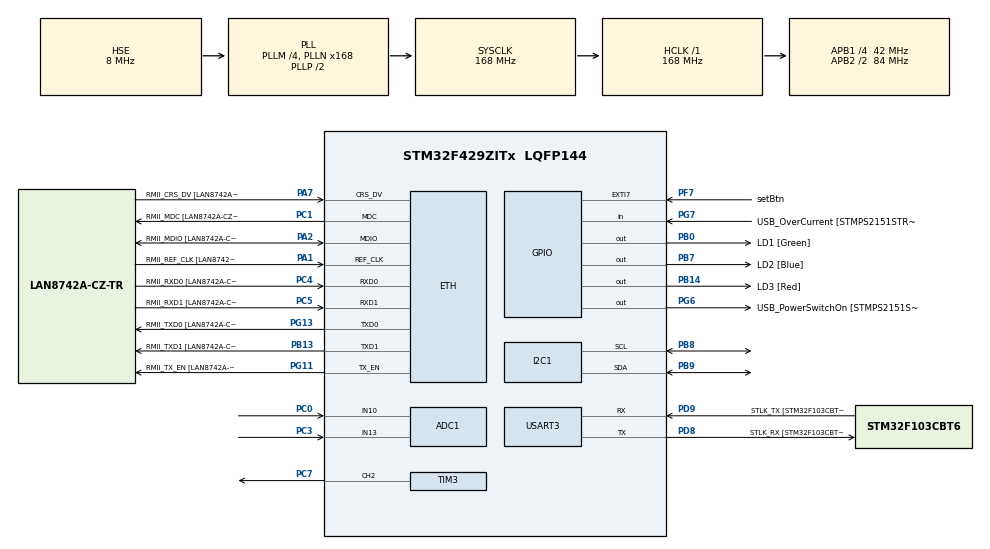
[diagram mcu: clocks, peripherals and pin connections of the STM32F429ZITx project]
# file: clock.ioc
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ADC1.Channel-4\#ChannelRegularConversion=ADC_CHANNEL_13
ADC1.Channel-5\#ChannelRegularConversion=ADC_CHANNEL_10
ADC1.ContinuousConvMode=ENABLE
ADC1.DMAContinuousRequests=ENABLE
ADC1.NbrOfConversion=2
ADC1.NbrOfConversionFlag=1
ADC1.Rank-4\#ChannelRegularConversion=1
ADC1.Rank-5\#ChannelRegularConversion=2
ADC1.SamplingTime-4\#ChannelRegularConversion=ADC_SAMPLETIME_84CYCLES
ADC1.SamplingTime-5\#ChannelRegularConversion=ADC_SAMPLETIME_84CYCLES
ADC1.ScanConvMode=ENABLE
ADC1.master=1
Dma.ADC1.0.Direction=DMA_PERIPH_TO_MEMORY
Dma.ADC1.0.FIFOMode=DMA_FIFOMODE_DISABLE
Dma.ADC1.0.Instance=DMA2_Stream0
Dma.ADC1.0.MemDataAlignment=DMA_MDATAALIGN_WORD
Dma.ADC1.0.MemInc=DMA_MINC_ENABLE
Dma.ADC1.0.Mode=DMA_CIRCULAR
Dma.ADC1.0.PeriphDataAlignment=DMA_PDATAALIGN_WORD
Dma.ADC1.0.PeriphInc=DMA_PINC_DISABLE
Dma.ADC1.0.Priority=DMA_PRIORITY_LOW
Dma.Request0=ADC1
ETH.MediaInterface=HAL_ETH_RMII_MODE
ETH.PHY_Name=LAN8742A_PHY_ADDRESS
ETH.PHY_Value=0
ETH.PhyAddress=0
Mcu.Family=STM32F4
Mcu.Name=STM32F429ZITx
Mcu.Package=LQFP144
NVIC.DMA2_Stream0_IRQn=true\:0\:0\:false\:false\:true\:false\:true\:true
NVIC.EXTI9_5_IRQn=true\:0\:0\:false\:true\:true\:2\:true\:true\:true
NVIC.PriorityGroup=NVIC_PRIORITYGROUP_4
NVIC.RTC_Alarm_IRQn=true\:0\:0\:false\:true\:true\:1\:true\:true\:true
NVIC.TIM2_IRQn=true\:0\:0\:false\:false\:true\:true\:true\:true
PA1.GPIO_Label=RMII_REF_CLK [LAN8742A-CZ-TR_REFCLK0]
PA1.Mode=RMII
PA1.Signal=ETH_REF_CLK
PA10.GPIO_Label=USB_ID
PA10.Signal=USB_OTG_FS_ID
PA11.GPIO_Label=USB_DM
PA11.Signal=USB_OTG_FS_DM
PA12.GPIO_Label=USB_DP
PA12.Signal=USB_OTG_FS_DP
PA13.GPIO_Label=TMS
PA13.Mode=Serial_Wire
PA13.Signal=SYS_JTMS-SWDIO
PA14.GPIO_Label=TCK
PA14.Mode=Serial_Wire
PA14.Signal=SYS_JTCK-SWCLK
PA2.GPIO_Label=RMII_MDIO [LAN8742A-CZ-TR_MDIO]
PA2.Mode=RMII
PA2.Signal=ETH_MDIO
PA7.GPIO_Label=RMII_CRS_DV [LAN8742A-CZ-TR_CRS_DV]
PA7.Mode=RMII
PA7.Signal=ETH_CRS_DV
PA8.GPIO_Label=USB_SOF [TP1]
PA8.Signal=USB_OTG_FS_SOF
PA9.GPIO_Label=USB_VBUS
PA9.Signal=USB_OTG_FS_VBUS
PB0.GPIO_Label=LD1 [Green]
PB0.Signal=GPIO_Output
PB13.GPIO_Label=RMII_TXD1 [LAN8742A-CZ-TR_TXD1]
PB13.Mode=RMII
PB13.Signal=ETH_TXD1
PB14.GPIO_Label=LD3 [Red]
PB14.Signal=GPIO_Output
PB7.GPIO_Label=LD2 [Blue]
PB7.Signal=GPIO_Output
PB8.Mode=I2C
PB8.Signal=I2C1_SCL
PB9.Mode=I2C
PB9.Signal=I2C1_SDA
PC0.Signal=ADCx_IN10
PC1.GPIO_Label=RMII_MDC [LAN8742A-CZ-TR_MDC]
PC1.Mode=RMII
PC1.Signal=ETH_MDC
PC14/OSC32_IN.Mode=LSE-External-Oscillator
PC14/OSC32_IN.Signal=RCC_OSC32_IN
PC15/OSC32_OUT.Mode=LSE-External-Oscillator
PC15/OSC32_OUT.Signal=RCC_OSC32_OUT
PC3.Signal=ADCx_IN13
PC4.GPIO_Label=RMII_RXD0 [LAN8742A-CZ-TR_RXD0]
PC4.Mode=RMII
PC4.Signal=ETH_RXD0
PC5.GPIO_Label=RMII_RXD1 [LAN8742A-CZ-TR_RXD1]
PC5.Mode=RMII
PC5.Signal=ETH_RXD1
PC7.Signal=S_TIM3_CH2
PD8.GPIO_Label=STLK_RX [STM32F103CBT6_PA3]
PD8.Mode=Asynchronous
PD8.Signal=USART3_TX
PD9.GPIO_Label=STLK_TX [STM32F103CBT6_PA2]
PD9.Mode=Asynchronous
PD9.Signal=USART3_RX
PF7.GPIO_Label=setBtn
PF7.GPIO_ModeDefaultEXTI=GPIO_MODE_IT_RISING_FALLING
PF7.GPIO_PuPd=GPIO_PULLUP
PF7.Signal=GPXTI7
PG11.GPIO_Label=RMII_TX_EN [LAN8742A-CZ-TR_TXEN]
PG11.Mode=RMII
PG11.Signal=ETH_TX_EN
PG13.GPIO_Label=RMII_TXD0 [LAN8742A-CZ-TR_TXD0]
PG13.Mode=RMII
PG13.Signal=ETH_TXD0
PG6.GPIO_Label=USB_PowerSwitchOn [STMPS2151STR_EN]
PG6.Signal=GPIO_Output
PG7.GPIO_Label=USB_OverCurrent [STMPS2151STR_FAULT]
PG7.Signal=GPIO_Input
PH0/OSC_IN.GPIO_Label=MCO [STM32F103CBT6_PA8]
PH0/OSC_IN.Mode=HSE-External-Clock-Source
PH0/OSC_IN.Signal=RCC_OSC_IN
PH1/OSC_OUT.Mode=HSE-External-Clock-Source
PH1/OSC_OUT.Signal=RCC_OSC_OUT
ProjectManager.HeapSize=0x200
ProjectManager.StackSize=0x400
ProjectManager.TargetToolchain=STM32CubeIDE
RCC.48MHZClocksFreq_Value=48000000
RCC.AHBFreq_Value=168000000
RCC.APB1CLKDivider=RCC_HCLK_DIV4
RCC.APB1Freq_Value=42000000
RCC.APB1TimFreq_Value=84000000
RCC.APB2CLKDivider=RCC_HCLK_DIV2
RCC.APB2Freq_Value=84000000
RCC.APB2TimCLKDivider=2
RCC.APB2TimFreq_Value=168000000
RCC.CortexFreq_Value=168000000
RCC.HCLKFreq_Value=168000000
RCC.HSE_VALUE=8000000
RCC.HSI_VALUE=16000000
RCC.PLLM=4
RCC.PLLMUL=RCC_PLL_MUL9
RCC.PLLN=168
RCC.PLLQ=7
RCC.PLLSourceVirtual=RCC_PLLSOURCE_HSE
RCC.PRESCALERUSB=RCC_USBCLKSOURCE_PLL_DIV1_5
RCC.RCC_RTC_Clock_Source=RCC_RTCCLKSOURCE_LSE
RCC.RCC_RTC_Clock_SourceVirtual=RCC_RTCCLKSOURCE_LSE
RCC.SYSCLKFreq_VALUE=168000000
RCC.SYSCLKSource=RCC_SYSCLKSOURCE_PLLCLK
RCC.SYSCLKSourceVirtual=RCC_SYSCLKSOURCE_PLLCLK
RCC.USBFreq_Value=48000000
RCC.VCOOutputFreq_Value=336000000
RTC.Alarm=RTC_ALARM_A
RTC.AlarmDateWeekDaySel=RTC_ALARMDATEWEEKDAYSEL_DATE
RTC.AlarmMaskDateWeekDay=RTC_ALARMMASK_DATEWEEKDAY
RTC.HourFormat=RTC_HOURFORMAT_12
RTC.Hours=11
RTC.Minutes=59
RTC.Minutes_A=5
RTC.Seconds=36
RTC.Seconds_A=30
SH.ADCx_IN10.0=ADC1_IN10,IN10
SH.ADCx_IN13.0=ADC1_IN13,IN13
SH.S_TIM3_CH2.0=TIM3_CH2,PWM Generation2 CH2
TIM2.Period=100-1
TIM2.Prescaler=8400-1
TIM3.Channel-PWM\ Generation2\ CH2=TIM_CHANNEL_2
TIM3.Period=200-1
TIM3.Prescaler=84-1
TIM3.Pulse-PWM\ Generation2\ CH2=50-1
USART3.VirtualMode=VM_ASYNC
VP_RTC_VS_RTC_Activate.Mode=RTC_Enabled
VP_RTC_VS_RTC_Alarm_A_Intern.Mode=Alarm A
VP_RTC_VS_RTC_Calendar.Mode=RTC_Calendar
VP_TIM2_VS_ClockSourceINT.Mode=Internal
board=NUCLEO-F429ZI

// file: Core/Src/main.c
/* USER CODE BEGIN Header */
/**
  ******************************************************************************
  * @file           : main.c
  * @brief          : Main program body
  ******************************************************************************
  * @attention
  *
  * Copyright (c) 2023 STMicroelectronics.
  * All rights reserved.
  *
  * This software is licensed under terms that can be found in the LICENSE file
  * in the root directory of this software component.
  * If no LICENSE file comes with this software, it is provided AS-IS.
  *
  ******************************************************************************
  */
/* USER CODE END Header */
#include "main.h"
#include "string.h"

/* USER CODE BEGIN Includes */
#include "stdio.h"
#include "flash.h"
#include "melody.h"
/* USER CODE END Includes */

/* USER CODE BEGIN PTD */
enum CLOCK_MODE{
	NORMAL_STATE,
	TIME_SETTING,
	ALARM_TIME_SETTING,
	MUSIC_SELECT
};
struct clock_state{
	enum CLOCK_MODE mode;
	int music_num;
};
struct clock_state current_state;

typedef struct {
	int8_t music_num;
	char music_title[16];
	int music_length;
} MusicTypeDef;

MusicTypeDef alarm_music[] =
{
  {0, "Harry Potter   ", 64},
  {1, "School Bell    ", 24}
};

/* USER CODE END PTD */

/* USER CODE BEGIN PD */
#define LCD_ADDR (0x27 << 1)

/* USER CODE END PD */

ETH_TxPacketConfig TxConfig;
ETH_DMADescTypeDef  DMARxDscrTab[ETH_RX_DESC_CNT]; /* Ethernet Rx DMA Descriptors */
ETH_DMADescTypeDef  DMATxDscrTab[ETH_TX_DESC_CNT]; /* Ethernet Tx DMA Descriptors */

ADC_HandleTypeDef hadc1;
DMA_HandleTypeDef hdma_adc1;

ETH_HandleTypeDef heth;

I2C_HandleTypeDef hi2c1;

RTC_HandleTypeDef hrtc;

TIM_HandleTypeDef htim2;
TIM_HandleTypeDef htim3;

UART_HandleTypeDef huart3;

void SystemClock_Config(void);
static void MX_GPIO_Init(void);
static void MX_DMA_Init(void);
static void MX_ETH_Init(void);
static void MX_USART3_UART_Init(void);
static void MX_I2C1_Init(void);
static void MX_RTC_Init(void);
static void MX_ADC1_Init(void);
static void MX_TIM3_Init(void);
static void MX_TIM2_Init(void);
static void MX_NVIC_Init(void);
/* USER CODE BEGIN PFP */
int _write(int file, char* ptr, int len) {
	HAL_UART_Transmit(&huart3, (uint8_t* )ptr, len, 500);
	return len;
}
int __io_putchar(int ch) {
	HAL_UART_Transmit(&huart3, (uint8_t* )&ch, 1, 1000);
	return ch;
}
/* USER CODE END PFP */

/* USER CODE BEGIN 0 */

HAL_StatusTypeDef update_nvitems(void)
{
	uint32_t FirstSector,NbOfSectors,SECTORError;
	FLASH_EraseInitTypeDef EraseInitStruct;
	HAL_StatusTypeDef error= HAL_OK;
	uint32_t Address,i;
	uint64_t Data;
	uint8_t* ptr;

	HAL_FLASH_Unlock();
	FirstSector = FLASH_SECTOR_11;
	NbOfSectors = 1;

	EraseInitStruct.TypeErase     = FLASH_TYPEERASE_SECTORS;
	EraseInitStruct.VoltageRange  = FLASH_VOLTAGE_RANGE_3;
	EraseInitStruct.Sector        = FirstSector;
	EraseInitStruct.NbSectors     = NbOfSectors;

	error = HAL_FLASHEx_Erase(&EraseInitStruct, &SECTORError);
	if(error != HAL_OK)
	{
		return error;
	}

	ptr = (uint8_t* )&default_nvitem;

	for(i = 0; i < sizeof(NVitemTypeDef); i++)
	{
		Address = (uint8_t* )nv_items + i;
		Data = *((uint8_t* )ptr+ i);
		error = HAL_FLASH_Program(FLASH_TYPEPROGRAM_BYTE,Address,Data);
		if(error != HAL_OK)
		{
			return error;
		}
	}

	HAL_FLASH_Lock();
}
extern void I2C_Scan(void);
void LCD_Init(uint8_t lcd_addr);
void LCD_SendCommand(uint8_t lcd_addr, uint8_t cmd);
void LCD_SendString(uint8_t lcd_addr, char *str);
int hourMinSec;
void setTime_Position();
void music_select();

char showTime[30] = {0};
char alarmTime[30] = {0};
char ampm[2][3] = {"AM", "PM"};

uint32_t XY[2];

RTC_TimeTypeDef sTime;
RTC_DateTypeDef sDate;
RTC_AlarmTypeDef aTime = {0};

void get_time(void)
{
	HAL_RTC_GetTime(&hrtc, &sTime, RTC_FORMAT_BIN);
	HAL_RTC_GetDate(&hrtc, &sDate, RTC_FORMAT_BIN);
	sprintf((char* )showTime, "%s %02d : %02d : %02d      ", ampm[sTime.TimeFormat], sTime.Hours, sTime.Minutes, sTime.Seconds);
}
void get_alarm(void)
{
	aTime.Alarm = RTC_ALARM_A;
	HAL_RTC_GetAlarm(&hrtc, &aTime, RTC_ALARM_A, RTC_FORMAT_BIN);
	sprintf((char* )alarmTime, "%s %02d : %02d : %02d      ", ampm[aTime.AlarmTime.TimeFormat], aTime.AlarmTime.Hours, aTime.AlarmTime.Minutes, aTime.AlarmTime.Seconds);
}

void time_display(void) {
  if (current_state.mode == NORMAL_STATE) {
	  get_time();
	  LCD_SendCommand(LCD_ADDR, 0b10000000);
	  LCD_SendString(LCD_ADDR, "CLOCK              ");
	  LCD_SendCommand(LCD_ADDR, 0b11000000);
	  LCD_SendString(LCD_ADDR, showTime);
  }
  else if (current_state.mode == TIME_SETTING){
	  LCD_SendCommand(LCD_ADDR, 0b10000000);
	  LCD_SendString(LCD_ADDR, "Time Setting      ");
	  LCD_SendCommand(LCD_ADDR, 0b11000000);
	  LCD_SendString(LCD_ADDR, showTime);
	  LCD_SendCommand(LCD_ADDR, 0b10001101);
  }
  else if (current_state.mode == ALARM_TIME_SETTING) {
	  get_alarm();
	  LCD_SendCommand(LCD_ADDR, 0b10000000);
	  LCD_SendString(LCD_ADDR, "Alarm Time       ");
	  LCD_SendCommand(LCD_ADDR, 0b11000000);
	  LCD_SendString(LCD_ADDR, alarmTime);
	  LCD_SendCommand(LCD_ADDR, 0b10001101);
  }
  else if (current_state.mode == MUSIC_SELECT) {
	  LCD_SendCommand(LCD_ADDR, 0b10000000);
	  LCD_SendString(LCD_ADDR, "Music Select       ");
	  music_select();
  }
}

uint32_t ctime, ltime, interval;
uint32_t double_key_cnt, tmptime;
int tmpcnt, click_flag, level;
uint32_t currentTime, lastTime;

enum CLICK_STATE {
	NO_CLICK,
	FIRST_PUSH,
	FIRST_PULL,
	SECOND_PUSH,
	SECOND_PULL
} click_state;
enum CLICK_STATE click_state = NO_CLICK;

void HAL_GPIO_EXTI_Callback(uint16_t GPIO_Pin)
{
	level = HAL_GPIO_ReadPin(GPIOF, GPIO_PIN_7);
	if (seq > 0) { // alarm ringing...
		seq = alarm_music[current_state.music_num].music_length;
		if (level == 1) return;
	}
	else {
		currentTime = HAL_GetTick();
		interval = currentTime - lastTime;
		lastTime = currentTime;

		if (interval > 50) { // debouncing
			if (level == 0 && (click_state == NO_CLICK || click_state == SECOND_PULL)) {
				click_state = FIRST_PUSH;
				ctime = HAL_GetTick();
			}
			else if (level == 1 && click_state == FIRST_PUSH) {
				click_state = FIRST_PULL;
				ltime = HAL_GetTick();
				if (ltime - ctime > 1000 && current_state.mode == NORMAL_STATE) {
					printf("Long click \r\n");
					click_state = NO_CLICK;
					current_state.mode = ALARM_TIME_SETTING;
				}
				else {
	//				printf("first pull \r\n");
				}
			}
			else if (level == 0 && click_state == FIRST_PULL) {
				click_state = SECOND_PUSH;
			}
			else if (level == 1 && click_state == SECOND_PUSH) {
				click_state = SECOND_PULL;
				printf("double click \r\n");
				if (current_state.mode == NORMAL_STATE) {
					current_state.mode = MUSIC_SELECT;
				}
				click_state = NO_CLICK;
			}
		}
	}

}

void setTime_Position() {
	char blink[30] = {0};
	RTC_TimeTypeDef* selectedTime;
	if (current_state.mode == TIME_SETTING) {
		selectedTime = &sTime;
	} else {
		selectedTime = &(aTime.AlarmTime);
		get_alarm();
		HAL_RTC_SetTime(&hrtc, &sTime, RTC_FORMAT_BIN);
//		HAL_RTC_DeactivateAlarm(&hrtc, RTC_ALARM_A);
	}

	if (XY[0] < 60) hourMinSec--;
	if (XY[0] > 4000) hourMinSec++;

	if (hourMinSec > 3) hourMinSec = 0;
	if (hourMinSec < 0) hourMinSec = 3;

//	printf("time_position : %d \r\n", hourMinSec);

	switch(hourMinSec) {
	case 0:
//		LCD_SendCommand(LCD_ADDR, 0b11000000);
		LCD_SendString(LCD_ADDR, "A");
		sprintf(blink, "%s", ampm[selectedTime->TimeFormat]);
		if (XY[1] < 60 ) selectedTime->TimeFormat++;
		if (XY[1] > 4000)  selectedTime->TimeFormat--;
		break;

	case 1:
//		LCD_SendCommand(LCD_ADDR, 0b11000011);
		LCD_SendString(LCD_ADDR, "H");
		sprintf(blink, "%02d", selectedTime->Hours);
		if (XY[1] < 60)   selectedTime->Hours++;
		if (XY[1] > 4000) selectedTime->Hours--;
		if (selectedTime -> Hours == 0)     selectedTime->Hours = 12;
		else if (selectedTime-> Hours > 12 ) selectedTime->Hours = 1;
		break;

	case 2:
//		LCD_SendCommand(LCD_ADDR, 0b11001000);
		LCD_SendString(LCD_ADDR, "M");
		sprintf(blink, "%02d", selectedTime->Minutes);
		if (XY[1] < 60) selectedTime->Minutes++;
		if (XY[1] > 4000) selectedTime->Minutes--;
		if (selectedTime->Minutes > 250)     selectedTime->Minutes = 59;
		else if (selectedTime->Minutes > 59) selectedTime->Minutes = 0;
		break;

	case 3:
//		LCD_SendCommand(LCD_ADDR, 0b11001101);
		LCD_SendString(LCD_ADDR, "S");
		sprintf(blink, "%02d", selectedTime->Seconds);
		if (XY[1] < 60) selectedTime->Seconds++;
		if (XY[1] > 4000) selectedTime->Seconds--;
		if (selectedTime->Seconds > 250)     selectedTime->Seconds = 59;
		else if (selectedTime->Seconds > 59) selectedTime->Seconds = 0;
		break;
	}

	HAL_Delay(400);
//	LCD_SendString(LCD_ADDR, "  ");
	if (current_state.mode == TIME_SETTING) {
		HAL_RTC_SetTime(&hrtc, &sTime, RTC_FORMAT_BIN);
		default_nvitem.setting_time.TimeFormat = sTime.TimeFormat;
		default_nvitem.setting_time.Hours = sTime.Hours;
		default_nvitem.setting_time.Minutes = sTime.Minutes;
		default_nvitem.setting_time.Seconds = sTime.Seconds;
//		update_nvitems();
	}
	else {
		aTime.Alarm = RTC_ALARM_A;
		default_nvitem.alarm_time.TimeFormat = aTime.AlarmTime.TimeFormat;
		default_nvitem.alarm_time.Hours = aTime.AlarmTime.Hours;
		default_nvitem.alarm_time.Minutes = aTime.AlarmTime.Minutes;
		default_nvitem.alarm_time.Seconds = aTime.AlarmTime.Seconds;
		HAL_RTC_SetAlarm_IT(&hrtc, &aTime, RTC_FORMAT_BIN);
//		update_nvitems();
//		get_alarm();
	}
//	update_nvitems();
}

void music_select(void) {
	unsigned int music_cnt = sizeof(alarm_music)/sizeof(alarm_music[0]); // total music cnt

	if (XY[1] < 60 ) current_state.music_num++;
	if (XY[1] > 4000 ) current_state.music_num--;
	current_state.music_num %= music_cnt;

	LCD_SendCommand(LCD_ADDR, 0b11000000);
	LCD_SendString(LCD_ADDR, alarm_music[current_state.music_num].music_title);
	default_nvitem.alarm_music_num = current_state.music_num;
}

/* USER CODE END 0 */

int main(void)
{

  /* MCU Configuration--------------------------------------------------------*/

  /* Reset of all peripherals, Initializes the Flash interface and the Systick. */
  HAL_Init();

  /* Configure the system clock */
  SystemClock_Config();

  /* Initialize all configured peripherals */
  MX_GPIO_Init();
  MX_DMA_Init();
  MX_ETH_Init();
  MX_USART3_UART_Init();
  MX_I2C1_Init();
  MX_RTC_Init();
  MX_ADC1_Init();
  MX_TIM3_Init();
  MX_TIM2_Init();

  /* Initialize interrupts */
  MX_NVIC_Init();
  /* USER CODE BEGIN 2 */
  I2C_Scan();
  LCD_Init(LCD_ADDR);

  HAL_ADC_Start_DMA(&hadc1, XY, 2);
  aTime.AlarmMask = RTC_ALARMMASK_DATEWEEKDAY; // So, mask = 1,0,0,0

  current_state.mode = NORMAL_STATE;
  click_state = NO_CLICK;
  current_state.music_num = 0;

  if(nv_items->magic_num == MAGIC_NUM) // get
  {
	  sTime.TimeFormat = *(uint8_t *)(ADDR_FLASH_SECTOR_11 + 4);
	  sTime.Hours = *(uint8_t *)(ADDR_FLASH_SECTOR_11 + 5);
	  sTime.Minutes = *(uint8_t *)(ADDR_FLASH_SECTOR_11 + 6);
	  sTime.Seconds = *(uint8_t *)(ADDR_FLASH_SECTOR_11 + 7);
	  HAL_RTC_SetTime(&hrtc, &sTime, RTC_FORMAT_BIN);

//	  HAL_RTC_DeactivateAlarm(&hrtc, RTC_ALARM_A);
	  aTime.AlarmTime.TimeFormat = *(uint8_t *)(ADDR_FLASH_SECTOR_11 + 8);
	  aTime.AlarmTime.Hours = *(uint8_t *)(ADDR_FLASH_SECTOR_11 + 9);
	  aTime.AlarmTime.Minutes = *(uint8_t *)(ADDR_FLASH_SECTOR_11 + 10);
	  aTime.AlarmTime.Seconds = *(uint8_t *)(ADDR_FLASH_SECTOR_11 + 11);
	  aTime.Alarm = RTC_ALARM_A;
	  HAL_RTC_SetAlarm_IT(&hrtc, &aTime, RTC_FORMAT_BIN);

	  current_state.music_num = *(uint8_t *)(ADDR_FLASH_SECTOR_11 + 12);
  }
  else // set
  {
	  update_nvitems();
  }

  /* USER CODE END 2 */

  /* Infinite loop */
  /* USER CODE BEGIN WHILE */
  while (1)
  {
	  get_time();
	  time_display();
	  if (current_state.mode == TIME_SETTING || current_state.mode == ALARM_TIME_SETTING) {
		  setTime_Position();
//		  printf("%d, %d \r\n", XY[0], XY[1]);
//		  printf("\r\n");
	  }

	  if (click_state == FIRST_PULL && (HAL_GetTick()-ltime) > 100) {
		printf("one click \r\n");
		if (seq > 0 ) {
			seq = alarm_music[current_state.music_num].music_length;
		}
		else {
			if (current_state.mode == NORMAL_STATE) {
				current_state.mode = TIME_SETTING;
			}
			else {
				current_state.mode = NORMAL_STATE;
				update_nvitems();

			}
		}

		click_state = NO_CLICK;
	 }

    /* USER CODE END WHILE */

  }
}

void SystemClock_Config(void)
{
  RCC_OscInitTypeDef RCC_OscInitStruct = {0};
  RCC_ClkInitTypeDef RCC_ClkInitStruct = {0};

  /** Configure the main internal regulator output voltage
  */
  __HAL_RCC_PWR_CLK_ENABLE();
  __HAL_PWR_VOLTAGESCALING_CONFIG(PWR_REGULATOR_VOLTAGE_SCALE1);

  /** Initializes the RCC Oscillators according to the specified parameters
  * in the RCC_OscInitTypeDef structure.
  */
  RCC_OscInitStruct.OscillatorType = RCC_OSCILLATORTYPE_HSE|RCC_OSCILLATORTYPE_LSE;
  RCC_OscInitStruct.HSEState = RCC_HSE_BYPASS;
  RCC_OscInitStruct.LSEState = RCC_LSE_ON;
  RCC_OscInitStruct.PLL.PLLState = RCC_PLL_ON;
  RCC_OscInitStruct.PLL.PLLSource = RCC_PLLSOURCE_HSE;
  RCC_OscInitStruct.PLL.PLLM = 4;
  RCC_OscInitStruct.PLL.PLLN = 168;
  RCC_OscInitStruct.PLL.PLLP = RCC_PLLP_DIV2;
  RCC_OscInitStruct.PLL.PLLQ = 7;
  if (HAL_RCC_OscConfig(&RCC_OscInitStruct) != HAL_OK)
  {
    Error_Handler();
  }

  /** Initializes the CPU, AHB and APB buses clocks
  */
  RCC_ClkInitStruct.ClockType = RCC_CLOCKTYPE_HCLK|RCC_CLOCKTYPE_SYSCLK
                              |RCC_CLOCKTYPE_PCLK1|RCC_CLOCKTYPE_PCLK2;
  RCC_ClkInitStruct.SYSCLKSource = RCC_SYSCLKSOURCE_PLLCLK;
  RCC_ClkInitStruct.AHBCLKDivider = RCC_SYSCLK_DIV1;
  RCC_ClkInitStruct.APB1CLKDivider = RCC_HCLK_DIV4;
  RCC_ClkInitStruct.APB2CLKDivider = RCC_HCLK_DIV2;

  if (HAL_RCC_ClockConfig(&RCC_ClkInitStruct, FLASH_LATENCY_5) != HAL_OK)
  {
    Error_Handler();
  }
}

/**
  * @brief NVIC Configuration.
  * @retval None
  */
static void MX_NVIC_Init(void)
{
  /* RTC_Alarm_IRQn interrupt configuration */
  HAL_NVIC_SetPriority(RTC_Alarm_IRQn, 0, 0);
  HAL_NVIC_EnableIRQ(RTC_Alarm_IRQn);
  /* EXTI9_5_IRQn interrupt configuration */
  HAL_NVIC_SetPriority(EXTI9_5_IRQn, 0, 0);
  HAL_NVIC_EnableIRQ(EXTI9_5_IRQn);
}

static void MX_ADC1_Init(void)
{

  ADC_ChannelConfTypeDef sConfig = {0};

  /** Configure the global features of the ADC (Clock, Resolution, Data Alignment and number of conversion)
  */
  hadc1.Instance = ADC1;
  hadc1.Init.ClockPrescaler = ADC_CLOCK_SYNC_PCLK_DIV4;
  hadc1.Init.Resolution = ADC_RESOLUTION_12B;
  hadc1.Init.ScanConvMode = ENABLE;
  hadc1.Init.ContinuousConvMode = ENABLE;
  hadc1.Init.DiscontinuousConvMode = DISABLE;
  hadc1.Init.ExternalTrigConvEdge = ADC_EXTERNALTRIGCONVEDGE_NONE;
  hadc1.Init.ExternalTrigConv = ADC_SOFTWARE_START;
  hadc1.Init.DataAlign = ADC_DATAALIGN_RIGHT;
  hadc1.Init.NbrOfConversion = 2;
  hadc1.Init.DMAContinuousRequests = ENABLE;
  hadc1.Init.EOCSelection = ADC_EOC_SINGLE_CONV;
  if (HAL_ADC_Init(&hadc1) != HAL_OK)
  {
    Error_Handler();
  }

  /** Configure for the selected ADC regular channel its corresponding rank in the sequencer and its sample time.
  */
  sConfig.Channel = ADC_CHANNEL_13;
  sConfig.Rank = 1;
  sConfig.SamplingTime = ADC_SAMPLETIME_84CYCLES;
  if (HAL_ADC_ConfigChannel(&hadc1, &sConfig) != HAL_OK)
  {
    Error_Handler();
  }

  /** Configure for the selected ADC regular channel its corresponding rank in the sequencer and its sample time.
  */
  sConfig.Channel = ADC_CHANNEL_10;
  sConfig.Rank = 2;
  if (HAL_ADC_ConfigChannel(&hadc1, &sConfig) != HAL_OK)
  {
    Error_Handler();
  }

}

static void MX_ETH_Init(void)
{

   static uint8_t MACAddr[6];

  heth.Instance = ETH;
  MACAddr[0] = 0x00;
  MACAddr[1] = 0x80;
  MACAddr[2] = 0xE1;
  MACAddr[3] = 0x00;
  MACAddr[4] = 0x00;
  MACAddr[5] = 0x00;
  heth.Init.MACAddr = &MACAddr[0];
  heth.Init.MediaInterface = HAL_ETH_RMII_MODE;
  heth.Init.TxDesc = DMATxDscrTab;
  heth.Init.RxDesc = DMARxDscrTab;
  heth.Init.RxBuffLen = 1524;

  if (HAL_ETH_Init(&heth) != HAL_OK)
  {
    Error_Handler();
  }

  memset(&TxConfig, 0 , sizeof(ETH_TxPacketConfig));
  TxConfig.Attributes = ETH_TX_PACKETS_FEATURES_CSUM | ETH_TX_PACKETS_FEATURES_CRCPAD;
  TxConfig.ChecksumCtrl = ETH_CHECKSUM_IPHDR_PAYLOAD_INSERT_PHDR_CALC;
  TxConfig.CRCPadCtrl = ETH_CRC_PAD_INSERT;

}

static void MX_I2C1_Init(void)
{

  hi2c1.Instance = I2C1;
  hi2c1.Init.ClockSpeed = 100000;
  hi2c1.Init.DutyCycle = I2C_DUTYCYCLE_2;
  hi2c1.Init.OwnAddress1 = 0;
  hi2c1.Init.AddressingMode = I2C_ADDRESSINGMODE_7BIT;
  hi2c1.Init.DualAddressMode = I2C_DUALADDRESS_DISABLE;
  hi2c1.Init.OwnAddress2 = 0;
  hi2c1.Init.GeneralCallMode = I2C_GENERALCALL_DISABLE;
  hi2c1.Init.NoStretchMode = I2C_NOSTRETCH_DISABLE;
  if (HAL_I2C_Init(&hi2c1) != HAL_OK)
  {
    Error_Handler();
  }

  /** Configure Analogue filter
  */
  if (HAL_I2CEx_ConfigAnalogFilter(&hi2c1, I2C_ANALOGFILTER_ENABLE) != HAL_OK)
  {
    Error_Handler();
  }

  /** Configure Digital filter
  */
  if (HAL_I2CEx_ConfigDigitalFilter(&hi2c1, 0) != HAL_OK)
  {
    Error_Handler();
  }

}

static void MX_RTC_Init(void)
{

  RTC_TimeTypeDef sTime = {0};
  RTC_DateTypeDef sDate = {0};
  RTC_AlarmTypeDef sAlarm = {0};

  /** Initialize RTC Only
  */
  hrtc.Instance = RTC;
  hrtc.Init.HourFormat = RTC_HOURFORMAT_12;
  hrtc.Init.AsynchPrediv = 127;
  hrtc.Init.SynchPrediv = 255;
  hrtc.Init.OutPut = RTC_OUTPUT_DISABLE;
  hrtc.Init.OutPutPolarity = RTC_OUTPUT_POLARITY_HIGH;
  hrtc.Init.OutPutType = RTC_OUTPUT_TYPE_OPENDRAIN;
  if (HAL_RTC_Init(&hrtc) != HAL_OK)
  {
    Error_Handler();
  }

  /** Initialize RTC and set the Time and Date
  */
  sTime.Hours = 0x11;
  sTime.Minutes = 0x59;
  sTime.Seconds = 0x36;
  sTime.TimeFormat = RTC_HOURFORMAT12_AM;
  sTime.DayLightSaving = RTC_DAYLIGHTSAVING_NONE;
  sTime.StoreOperation = RTC_STOREOPERATION_RESET;
  if (HAL_RTC_SetTime(&hrtc, &sTime, RTC_FORMAT_BCD) != HAL_OK)
  {
    Error_Handler();
  }
  sDate.WeekDay = RTC_WEEKDAY_MONDAY;
  sDate.Month = RTC_MONTH_JANUARY;
  sDate.Date = 0x1;
  sDate.Year = 0x0;

  if (HAL_RTC_SetDate(&hrtc, &sDate, RTC_FORMAT_BCD) != HAL_OK)
  {
    Error_Handler();
  }

  /** Enable the Alarm A
  */
  sAlarm.AlarmTime.Hours = 0x1;
  sAlarm.AlarmTime.Minutes = 0x5;
  sAlarm.AlarmTime.Seconds = 0x30;
  sAlarm.AlarmTime.SubSeconds = 0x0;
  sAlarm.AlarmTime.TimeFormat = RTC_HOURFORMAT12_AM;
  sAlarm.AlarmTime.DayLightSaving = RTC_DAYLIGHTSAVING_NONE;
  sAlarm.AlarmTime.StoreOperation = RTC_STOREOPERATION_RESET;
  sAlarm.AlarmMask = RTC_ALARMMASK_DATEWEEKDAY;
  sAlarm.AlarmSubSecondMask = RTC_ALARMSUBSECONDMASK_ALL;
  sAlarm.AlarmDateWeekDaySel = RTC_ALARMDATEWEEKDAYSEL_DATE;
  sAlarm.AlarmDateWeekDay = 0x1;
  sAlarm.Alarm = RTC_ALARM_A;
  if (HAL_RTC_SetAlarm_IT(&hrtc, &sAlarm, RTC_FORMAT_BCD) != HAL_OK)
  {
    Error_Handler();
  }

}

static void MX_TIM2_Init(void)
{

  TIM_ClockConfigTypeDef sClockSourceConfig = {0};
  TIM_MasterConfigTypeDef sMasterConfig = {0};

  htim2.Instance = TIM2;
  htim2.Init.Prescaler = 8400-1;
  htim2.Init.CounterMode = TIM_COUNTERMODE_UP;
  htim2.Init.Period = 100-1;
  htim2.Init.ClockDivision = TIM_CLOCKDIVISION_DIV1;
  htim2.Init.AutoReloadPreload = TIM_AUTORELOAD_PRELOAD_DISABLE;
  if (HAL_TIM_Base_Init(&htim2) != HAL_OK)
  {
    Error_Handler();
  }
  sClockSourceConfig.ClockSource = TIM_CLOCKSOURCE_INTERNAL;
  if (HAL_TIM_ConfigClockSource(&htim2, &sClockSourceConfig) != HAL_OK)
  {
    Error_Handler();
  }
  sMasterConfig.MasterOutputTrigger = TIM_TRGO_RESET;
  sMasterConfig.MasterSlaveMode = TIM_MASTERSLAVEMODE_DISABLE;
  if (HAL_TIMEx_MasterConfigSynchronization(&htim2, &sMasterConfig) != HAL_OK)
  {
    Error_Handler();
  }

}

static void MX_TIM3_Init(void)
{

  TIM_MasterConfigTypeDef sMasterConfig = {0};
  TIM_OC_InitTypeDef sConfigOC = {0};

  htim3.Instance = TIM3;
  htim3.Init.Prescaler = 84-1;
  htim3.Init.CounterMode = TIM_COUNTERMODE_UP;
  htim3.Init.Period = 200-1;
  htim3.Init.ClockDivision = TIM_CLOCKDIVISION_DIV1;
  htim3.Init.AutoReloadPreload = TIM_AUTORELOAD_PRELOAD_DISABLE;
  if (HAL_TIM_PWM_Init(&htim3) != HAL_OK)
  {
    Error_Handler();
  }
  sMasterConfig.MasterOutputTrigger = TIM_TRGO_RESET;
  sMasterConfig.MasterSlaveMode = TIM_MASTERSLAVEMODE_DISABLE;
  if (HAL_TIMEx_MasterConfigSynchronization(&htim3, &sMasterConfig) != HAL_OK)
  {
    Error_Handler();
  }
  sConfigOC.OCMode = TIM_OCMODE_PWM1;
  sConfigOC.Pulse = 50-1;
  sConfigOC.OCPolarity = TIM_OCPOLARITY_HIGH;
  sConfigOC.OCFastMode = TIM_OCFAST_DISABLE;
  if (HAL_TIM_PWM_ConfigChannel(&htim3, &sConfigOC, TIM_CHANNEL_2) != HAL_OK)
  {
    Error_Handler();
  }
  HAL_TIM_MspPostInit(&htim3);

}

static void MX_USART3_UART_Init(void)
{

  huart3.Instance = USART3;
  huart3.Init.BaudRate = 115200;
  huart3.Init.WordLength = UART_WORDLENGTH_8B;
  huart3.Init.StopBits = UART_STOPBITS_1;
  huart3.Init.Parity = UART_PARITY_NONE;
  huart3.Init.Mode = UART_MODE_TX_RX;
  huart3.Init.HwFlowCtl = UART_HWCONTROL_NONE;
  huart3.Init.OverSampling = UART_OVERSAMPLING_16;
  if (HAL_UART_Init(&huart3) != HAL_OK)
  {
    Error_Handler();
  }

}

static void MX_DMA_Init(void)
{

  /* DMA controller clock enable */
  __HAL_RCC_DMA2_CLK_ENABLE();

  /* DMA interrupt init */
  /* DMA2_Stream0_IRQn interrupt configuration */
  HAL_NVIC_SetPriority(DMA2_Stream0_IRQn, 0, 0);
  HAL_NVIC_EnableIRQ(DMA2_Stream0_IRQn);

}

static void MX_GPIO_Init(void)
{
  GPIO_InitTypeDef GPIO_InitStruct = {0};

  /* GPIO Ports Clock Enable */
  __HAL_RCC_GPIOC_CLK_ENABLE();
  __HAL_RCC_GPIOF_CLK_ENABLE();
  __HAL_RCC_GPIOH_CLK_ENABLE();
  __HAL_RCC_GPIOA_CLK_ENABLE();
  __HAL_RCC_GPIOB_CLK_ENABLE();
  __HAL_RCC_GPIOD_CLK_ENABLE();
  __HAL_RCC_GPIOG_CLK_ENABLE();

  /*Configure GPIO pin Output Level */
  HAL_GPIO_WritePin(GPIOB, LD1_Pin|LD3_Pin|LD2_Pin, GPIO_PIN_RESET);

  /*Configure GPIO pin Output Level */
  HAL_GPIO_WritePin(USB_PowerSwitchOn_GPIO_Port, USB_PowerSwitchOn_Pin, GPIO_PIN_RESET);

  /*Configure GPIO pin : setBtn_Pin */
  GPIO_InitStruct.Pin = setBtn_Pin;
  GPIO_InitStruct.Mode = GPIO_MODE_IT_RISING_FALLING;
  GPIO_InitStruct.Pull = GPIO_PULLUP;
  HAL_GPIO_Init(setBtn_GPIO_Port, &GPIO_InitStruct);

  /*Configure GPIO pins : LD1_Pin LD3_Pin LD2_Pin */
  GPIO_InitStruct.Pin = LD1_Pin|LD3_Pin|LD2_Pin;
  GPIO_InitStruct.Mode = GPIO_MODE_OUTPUT_PP;
  GPIO_InitStruct.Pull = GPIO_NOPULL;
  GPIO_InitStruct.Speed = GPIO_SPEED_FREQ_LOW;
  HAL_GPIO_Init(GPIOB, &GPIO_InitStruct);

  /*Configure GPIO pin : USB_PowerSwitchOn_Pin */
  GPIO_InitStruct.Pin = USB_PowerSwitchOn_Pin;
  GPIO_InitStruct.Mode = GPIO_MODE_OUTPUT_PP;
  GPIO_InitStruct.Pull = GPIO_NOPULL;
  GPIO_InitStruct.Speed = GPIO_SPEED_FREQ_LOW;
  HAL_GPIO_Init(USB_PowerSwitchOn_GPIO_Port, &GPIO_InitStruct);

  /*Configure GPIO pin : USB_OverCurrent_Pin */
  GPIO_InitStruct.Pin = USB_OverCurrent_Pin;
  GPIO_InitStruct.Mode = GPIO_MODE_INPUT;
  GPIO_InitStruct.Pull = GPIO_NOPULL;
  HAL_GPIO_Init(USB_OverCurrent_GPIO_Port, &GPIO_InitStruct);

  /*Configure GPIO pins : USB_SOF_Pin USB_ID_Pin USB_DM_Pin USB_DP_Pin */
  GPIO_InitStruct.Pin = USB_SOF_Pin|USB_ID_Pin|USB_DM_Pin|USB_DP_Pin;
  GPIO_InitStruct.Mode = GPIO_MODE_AF_PP;
  GPIO_InitStruct.Pull = GPIO_NOPULL;
  GPIO_InitStruct.Speed = GPIO_SPEED_FREQ_VERY_HIGH;
  GPIO_InitStruct.Alternate = GPIO_AF10_OTG_FS;
  HAL_GPIO_Init(GPIOA, &GPIO_InitStruct);

  /*Configure GPIO pin : USB_VBUS_Pin */
  GPIO_InitStruct.Pin = USB_VBUS_Pin;
  GPIO_InitStruct.Mode = GPIO_MODE_INPUT;
  GPIO_InitStruct.Pull = GPIO_NOPULL;
  HAL_GPIO_Init(USB_VBUS_GPIO_Port, &GPIO_InitStruct);

}

/* USER CODE BEGIN 4 */
void HAL_RTC_AlarmAEventCallback(RTC_HandleTypeDef *hrtc) {
	HAL_UART_Transmit(&huart3, (uint8_t *)&showTime, strlen(showTime), 1000);
	printf("Alarm Callback Occurred!! \r\n");
	seq = 0;
	HAL_TIM_Base_Start_IT(&htim2);
	HAL_GPIO_TogglePin(GPIOB, LD1_Pin);
}

void HAL_TIM_PeriodElapsedCallback(TIM_HandleTypeDef *htim)
{
	int selected_music_num = current_state.music_num;
	switch(selected_music_num) {
	case 0 :
		buzzer = harry;
		break;
	case 1 :
		buzzer = bell;
		break;
	}
	HAL_TIM_PWM_Start(&htim3, TIM_CHANNEL_2);
	uint16_t melody = (uint16_t)(1000000 / buzzer[seq].freq);
	printf("music num : %d \r\n", current_state.music_num);
	if(stop == 1){
		TIM2->ARR = 500;
		HAL_TIM_PWM_Stop(&htim3, TIM_CHANNEL_2);
		stop = 0;
	}
	else{
		if(seq == alarm_music[current_state.music_num].music_length){
			HAL_TIM_Base_Stop_IT(&htim2);
			HAL_TIM_PWM_Stop(&htim3, TIM_CHANNEL_2);
			seq = 0;
		}
		else{
			TIM3->ARR = melody;
			TIM3->CCR2 = melody / 2;
			TIM2->ARR = buzzer[seq].delay * 1500;
			HAL_TIM_PWM_Start(&htim3, TIM_CHANNEL_2);
			stop = 1;
			seq++;
		}
	}
	HAL_GPIO_TogglePin(GPIOB, LD3_Pin);
}

/* USER CODE END 4 */

void Error_Handler(void)
{
  __disable_irq();
  while (1)
  {
  }
}
